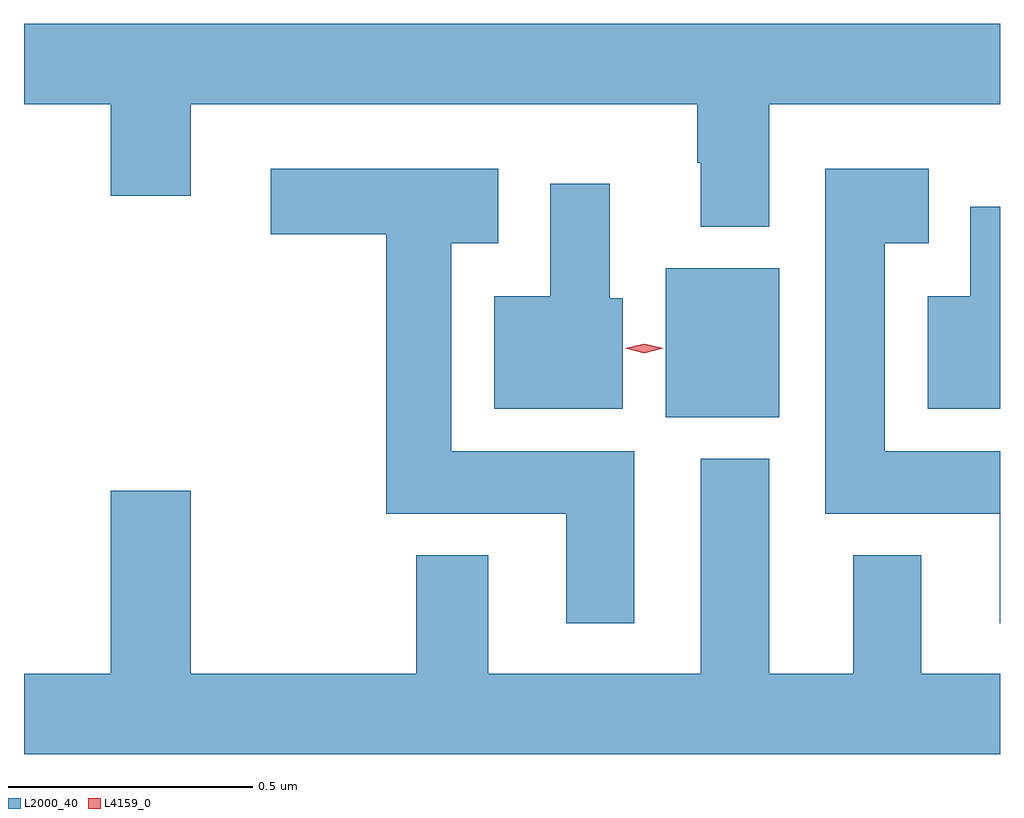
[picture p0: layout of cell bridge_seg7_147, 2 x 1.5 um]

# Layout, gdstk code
import gdstk
lib = gdstk.Library(unit=1e-6, precision=1e-09)
def R(c, l, rs):  # rectangles x0, y0, x1, y1
    for r in rs: c.add(gdstk.rectangle(r[:2], r[2:], *l))
def P(c, l, *ps):  # polygons
    for p in ps: c.add(gdstk.Polygon(p, *l))
L2000_40 = (2000, 40)
L4159_0 = (4159, 0)

bridge_seg7_147 = lib.new_cell('bridge_seg7_147')
R(bridge_seg7_147, L2000_40, [(717.593,1002.638,717.826,1002.943)])
P(bridge_seg7_147, L2000_40, [(717.805,1003.28),(718.278,1003.28),(718.278,1003.444),(716.278,1003.444),(716.278,1003.28),(716.456,1003.28),(716.456,1003.092),(716.62,1003.092),(716.62,1003.28),(717.658,1003.28),(717.658,1003.16),(717.665,1003.16),(717.665,1003.028),(717.805,1003.028)],
  [(718.278,1002.568),(718.042,1002.568),(718.042,1002.995),(718.132,1002.995),(718.132,1003.147),(717.92,1003.147),(717.92,1002.44),(718.277,1002.44),(718.277,1002.216),(718.278,1002.216)],
  [(717.529,1002.568),(717.154,1002.568),(717.154,1002.995),(717.25,1002.995),(717.25,1003.147),(716.784,1003.147),(716.784,1003.013),(717.02,1003.013),(717.02,1002.44),(717.389,1002.44),(717.389,1002.216),(717.529,1002.216)],
  [(717.505,1002.882),(717.478,1002.882),(717.478,1003.117),(717.356,1003.117),(717.356,1002.886),(717.242,1002.886),(717.242,1002.656),(717.505,1002.656)],
  [(718.278,1003.069),(718.217,1003.069),(718.217,1002.886),(718.13,1002.886),(718.13,1002.656),(718.278,1002.656)],
  [(718.278,1002.112),(718.117,1002.112),(718.117,1002.355),(717.977,1002.355),(717.977,1002.112),(717.805,1002.112),(717.805,1002.553),(717.665,1002.553),(717.665,1002.112),(717.229,1002.112),(717.229,1002.355),(717.082,1002.355),(717.082,1002.112),(716.62,1002.112),(716.62,1002.487),(716.456,1002.487),(716.456,1002.112),(716.278,1002.112),(716.278,1001.948),(718.278,1001.948)])
P(bridge_seg7_147, L4159_0, [(717.549,1002.769),(717.51,1002.779),(717.51,1002.779),(717.51,1002.78),(717.549,1002.789),(717.588,1002.78),(717.588,1002.779),(717.588,1002.779)])

lib.write_gds('bridge_seg7_147.gds')
